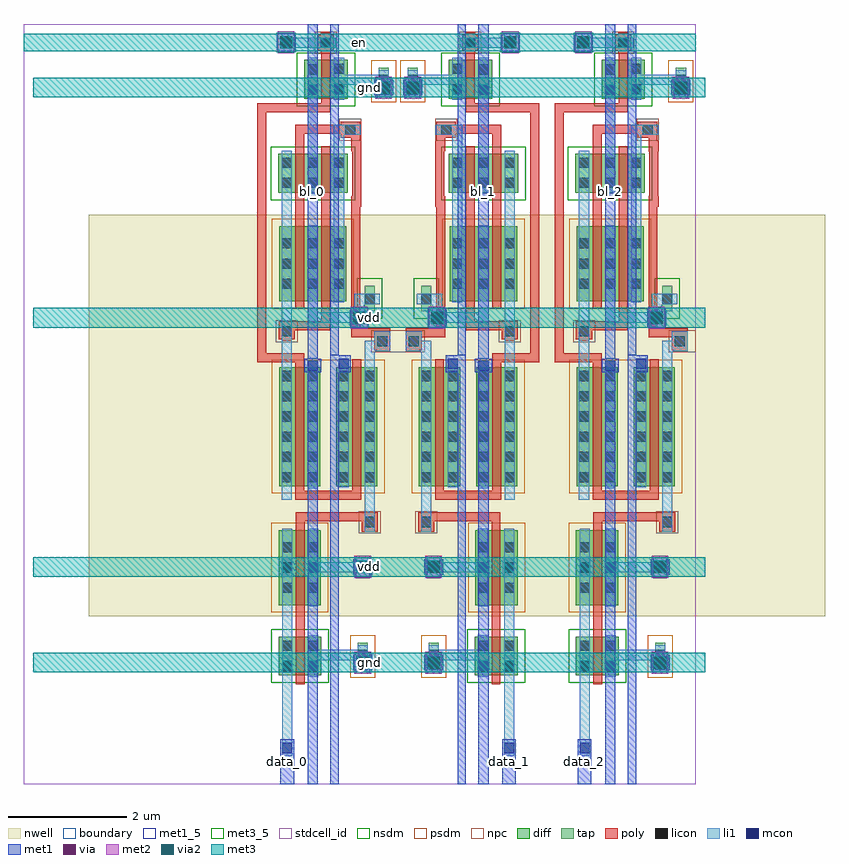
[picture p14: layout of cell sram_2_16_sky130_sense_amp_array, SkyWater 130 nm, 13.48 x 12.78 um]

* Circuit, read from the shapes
.subckt sram_2_16_sky130_sense_amp_array bl_0 bl_1 bl_2 br_0 br_1 br_2 data_0 data_1 data_2 en gnd vdd
XM1 n1 n2 n3 gnd sky130_fd_pr__nfet_01v8 w=0.65 l=0.15
XM2 gnd n2 data_0 gnd sky130_fd_pr__nfet_01v8 w=0.65 l=0.15
XM3 n2 n3 n1 gnd sky130_fd_pr__nfet_01v8 w=0.65 l=0.15
XM4 gnd en n1 gnd sky130_fd_pr__nfet_01v8 w=0.65 l=0.15
XM5 n4 n5 n6 gnd sky130_fd_pr__nfet_01v8 w=0.65 l=0.15
XM6 n4 en gnd gnd sky130_fd_pr__nfet_01v8 w=0.65 l=0.15
XM7 data_1 n6 gnd gnd sky130_fd_pr__nfet_01v8 w=0.65 l=0.15
XM8 n5 n6 n4 gnd sky130_fd_pr__nfet_01v8 w=0.65 l=0.15
XM9 n7 n8 n9 gnd sky130_fd_pr__nfet_01v8 w=0.65 l=0.15
XM10 gnd n8 data_2 gnd sky130_fd_pr__nfet_01v8 w=0.65 l=0.15
XM11 n8 n9 n7 gnd sky130_fd_pr__nfet_01v8 w=0.65 l=0.15
XM12 gnd en n7 gnd sky130_fd_pr__nfet_01v8 w=0.65 l=0.15
XM13 bl_0 en n3 vdd sky130_fd_pr__pfet_01v8 w=2 l=0.15
XM14 vdd n2 n3 vdd sky130_fd_pr__pfet_01v8 w=1.26 l=0.15
XM15 vdd n2 data_0 vdd sky130_fd_pr__pfet_01v8 w=1.26 l=0.15
XM16 n2 n3 vdd vdd sky130_fd_pr__pfet_01v8 w=1.26 l=0.15
XM17 n2 en br_0 vdd sky130_fd_pr__pfet_01v8 w=2 l=0.15
XM18 br_1 en n6 vdd sky130_fd_pr__pfet_01v8 w=2 l=0.15
XM19 vdd n5 n6 vdd sky130_fd_pr__pfet_01v8 w=1.26 l=0.15
XM20 data_1 n6 vdd vdd sky130_fd_pr__pfet_01v8 w=1.26 l=0.15
XM21 n5 en bl_1 vdd sky130_fd_pr__pfet_01v8 w=2 l=0.15
XM22 n5 n6 vdd vdd sky130_fd_pr__pfet_01v8 w=1.26 l=0.15
XM23 bl_2 en n9 vdd sky130_fd_pr__pfet_01v8 w=2 l=0.15
XM24 vdd n8 n9 vdd sky130_fd_pr__pfet_01v8 w=1.26 l=0.15
XM25 vdd n8 data_2 vdd sky130_fd_pr__pfet_01v8 w=1.26 l=0.15
XM26 n8 n9 vdd vdd sky130_fd_pr__pfet_01v8 w=1.26 l=0.15
XM27 n8 en br_2 vdd sky130_fd_pr__pfet_01v8 w=2 l=0.15
.ends

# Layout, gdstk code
from math import pi, radians
import gdstk
lib = gdstk.Library(unit=1e-6, precision=1e-09)
def R(c, l, rs):  # rectangles x0, y0, x1, y1
    for r in rs: c.add(gdstk.rectangle(r[:2], r[2:], *l))
def A(c, l, x, y, w, h, nx, ny, dx, dy):  # array of equal rectangles
    R(c, l, [(x+i*dx, y+j*dy, x+i*dx+w, y+j*dy+h) for i in range(nx) for j in range(ny)])
nwell = (64, 20)
diff = (65, 20)
tap = (65, 44)
poly = (66, 20)
licon = (66, 44)
li1 = (67, 20)
mcon = (67, 44)
met1_5 = (68, 5)
met1 = (68, 20)
via = (68, 44)
met2 = (69, 20)
via2 = (69, 44)
met3_5 = (70, 5)
met3 = (70, 20)
stdcell_id = (81, 4)
nsdm = (93, 44)
psdm = (94, 20)
npc = (95, 20)
boundary = (235, 4)

sky130_fd_bd_sram__openr = lib.new_cell('sky130_fd_bd_sram__openram_sense_amp')
R(sky130_fd_bd_sram__openr, nwell, [(-2.705,2.82,4.685,9.57)])
R(sky130_fd_bd_sram__openr, diff, [(0.49,1.83,1.21,2.48), (0.49,3.01,1.2,4.27), (0.5,5.01,1.19,7.01), (1.46,5.01,2.15,7.01), (0.5,8.12,1.63,9.38), (0.48,9.945,1.65,10.595), (0.92,11.525,1.65,12.175)])
R(sky130_fd_bd_sram__openr, tap, [(1.82,1.915,1.99,2.375), (1.94,7.95,2.11,8.38), (2.17,11.585,2.34,12.045)])
R(sky130_fd_bd_sram__openr, poly, [(0.78,1.68,0.93,4.42), (1.89,4.24,2.16,4.42), (0.78,4.42,2.16,4.57), (0.77,4.78,1.88,4.93), (0.77,4.93,0.92,7.09), (1.73,4.93,1.88,7.14), (0.13,7.09,0.92,7.24), (0.13,7.24,0.28,11.295), (2.15,7.28,2.37,7.29), (2.1,7.29,2.37,7.51), (0.54,7.45,0.71,7.48), (0.49,7.48,0.76,7.63), (1.71,7.51,2.37,7.66), (0.49,7.63,1.36,7.78), (1.71,7.66,1.86,9.71), (1.21,7.78,1.36,10.725), (0.77,7.99,0.92,10.935), (1.71,9.71,1.88,9.88), (1.725,9.88,1.875,10.64), (1.71,10.64,1.88,10.81), (1.71,10.81,1.86,10.865), (1.53,10.865,1.86,10.935), (0.77,10.935,1.86,11.085), (1.53,11.085,1.86,11.135), (0.13,11.295,1.36,11.445), (1.21,11.445,1.36,12.3), (1.2,12.3,1.37,12.33), (1.15,12.33,1.42,12.6), (1.2,12.6,1.37,12.63)])
A(sky130_fd_bd_sram__openr, licon, 0.55, 3.215, 0.17, 0.17, 1, 3, 0, 0.34)
A(sky130_fd_bd_sram__openr, licon, 0.99, 3.215, 0.17, 0.17, 1, 3, 0, 0.34)
A(sky130_fd_bd_sram__openr, licon, 0.54, 5.075, 0.17, 0.17, 1, 6, 0, 0.34)
A(sky130_fd_bd_sram__openr, licon, 0.98, 5.075, 0.17, 0.17, 1, 6, 0, 0.34)
A(sky130_fd_bd_sram__openr, licon, 1.5, 5.075, 0.17, 0.17, 1, 6, 0, 0.34)
A(sky130_fd_bd_sram__openr, licon, 1.94, 5.075, 0.17, 0.17, 1, 6, 0, 0.34)
A(sky130_fd_bd_sram__openr, licon, 0.54, 8.325, 0.17, 0.17, 3, 3, 0.44, 0.34)
A(sky130_fd_bd_sram__openr, licon, 0.54, 10.025, 0.17, 0.17, 3, 2, 0.44, 0.34)
R(sky130_fd_bd_sram__openr, licon, [(0.55,1.9,0.72,2.07), (0.99,1.9,1.16,2.07), (1.82,2.085,1.99,2.255), (0.55,2.24,0.72,2.41), (0.99,2.24,1.16,2.41), (1.94,4.32,2.11,4.49), (2.15,7.36,2.32,7.53), (0.54,7.53,0.71,7.7), (1.94,8.07,2.11,8.24), (1.61,10.915,1.78,11.085), (0.98,11.59,1.15,11.76), (1.42,11.6,1.59,11.77), (2.17,11.755,2.34,11.925), (0.98,11.93,1.15,12.1), (1.42,11.94,1.59,12.11), (1.2,12.38,1.37,12.55)])
R(sky130_fd_bd_sram__openr, li1, [(0.55,0.475,0.72,4.29), (0.98,1.8,1.16,2.08), (1.82,1.915,1.99,2.08), (0.98,2.08,1.99,2.26), (0.98,2.26,1.16,2.5), (1.82,2.26,1.99,2.335), (0.99,2.99,1.16,3.56), (0.99,3.56,1.99,3.73), (0.99,3.73,1.16,4.29), (1.94,4.24,2.11,7.28), (0.54,4.78,0.71,10.65), (0.98,4.97,1.15,7.12), (1.5,4.99,1.67,7.15), (1.94,7.28,2.37,7.45), (2.1,7.45,2.37,7.61), (0.98,7.76,1.93,7.93), (0.98,7.93,1.15,9.4), (1.76,7.93,1.93,8.07), (1.76,8.07,2.19,8.24), (1.42,8.1,1.59,10.915), (0.98,9.925,1.15,12.21), (1.42,10.915,1.87,11.085), (1.42,11.505,1.59,11.755), (2.17,11.585,2.34,11.755), (1.42,11.755,2.34,11.925), (1.42,11.925,1.59,12.21), (2.17,11.925,2.34,12.005), (0.53,12.38,1.45,12.55), (0.53,12.55,0.7,12.56)])
R(sky130_fd_bd_sram__openr, mcon, [(0.55,0.52,0.72,0.69), (1.82,1.915,1.99,2.085), (1.82,3.56,1.99,3.73), (0.98,6.95,1.15,7.12), (1.5,6.98,1.67,7.15), (1.76,7.76,1.93,7.93), (2.17,11.585,2.34,11.755), (0.53,12.385,0.7,12.555)])
R(sky130_fd_bd_sram__openr, met1_5, [(0.52,0,0.75,0.75), (1.79,1.855,2.02,2.225), (1.79,3.46,2.02,3.84), (0.98,7.15,1.15,12.78), (1.36,7.21,1.5,12.78), (1.69,7.67,2,8.01), (2.14,11.525,2.37,11.895), (0.47,12.32,0.76,12.62)])
R(sky130_fd_bd_sram__openr, met1, [(0.52,0,0.75,0.75), (0.52,0,0.75,0.75), (0.98,0,1.15,6.92), (1.36,0,1.5,6.92), (1.79,1.855,2.02,2.225), (1.79,1.855,2.02,2.225), (1.79,3.46,2.02,3.84), (1.79,3.46,2.02,3.84), (0.92,6.92,1.21,7.15), (1.36,6.92,1.7,7.21), (0.98,7.15,1.15,12.78), (0.98,7.15,1.15,12.78), (1.36,7.21,1.5,12.78), (1.36,7.21,1.5,12.78), (1.69,7.67,2,8.01), (1.69,7.67,2,8.01), (2.14,11.525,2.37,11.895), (2.14,11.525,2.37,11.895), (0.47,12.32,0.76,12.62), (0.47,12.32,0.76,12.62)])
R(sky130_fd_bd_sram__openr, nsdm, [(0.365,1.705,1.335,2.605), (1.815,7.825,2.235,8.505), (0.355,9.82,1.775,10.72), (0.795,11.4,1.775,12.3)])
R(sky130_fd_bd_sram__openr, psdm, [(1.695,1.79,2.115,2.5), (0.365,2.885,1.325,4.395), (0.375,4.885,2.275,7.135), (0.375,7.995,1.755,9.505), (2.045,11.46,2.465,12.17)])
R(sky130_fd_bd_sram__openr, npc, [(1.84,4.22,2.21,4.59), (2.05,7.26,2.5,7.63), (0.44,7.43,0.81,7.8), (1.51,10.815,1.88,11.185), (1.1,12.28,1.47,12.65)])
R(sky130_fd_bd_sram__openr, boundary, [(0,0,2.5,12.78)])
sky130_fd_bd_sram__openr.add(gdstk.Label('DOUT', (0.61,0.285), layer=68, texttype=5))
sky130_fd_bd_sram__openr.add(gdstk.Label('BL', (1.07,12.74), layer=68, texttype=5))
sky130_fd_bd_sram__openr.add(gdstk.Label('BR', (1.43,12.73), layer=68, texttype=5))
sky130_fd_bd_sram__openr.add(gdstk.Label('EN', (0.5,12.45), layer=68, texttype=5))
sky130_fd_bd_sram__openr.add(gdstk.Label('GND', (2.25,11.555), layer=68, texttype=5))
sky130_fd_bd_sram__openr.add(gdstk.Label('GND', (1.9,1.885), layer=68, texttype=5))
sky130_fd_bd_sram__openr.add(gdstk.Label('VDD', (1.97,7.84), layer=68, texttype=5))
sky130_fd_bd_sram__openr.add(gdstk.Label('VDD', (1.89,3.5), layer=68, texttype=5))
sky130_fd_bd_sram__openr.add(gdstk.Label('bl', (1.065,9.965), layer=68, texttype=5))
sky130_fd_bd_sram__openr.add(gdstk.Label('br', (1.43,9.995), layer=68, texttype=5))
sky130_fd_bd_sram__openr.add(gdstk.Label('dout', (0.635,0.375), layer=68, texttype=5))
sky130_fd_bd_sram__openr.add(gdstk.Label('en', (0.615,12.47), layer=68, texttype=5))
sky130_fd_bd_sram__openr.add(gdstk.Label('vdd', (1.845,7.84), layer=68, texttype=5))
sky130_fd_bd_sram__openr.add(gdstk.Label('vdd', (1.905,3.65), layer=68, texttype=5))
sky130_fd_bd_sram__openr.add(gdstk.Label('gnd', (2.255,11.71), layer=68, texttype=5))
sky130_fd_bd_sram__openr.add(gdstk.Label('gnd', (1.905,2.04), layer=68, texttype=5))

sram_2_16_sky130_contact = lib.new_cell('sram_2_16_sky130_contact_7')
R(sram_2_16_sky130_contact, met1, [(0,0.03,0.32,0.29)])
R(sram_2_16_sky130_contact, via, [(0.085,0.085,0.235,0.235)])
R(sram_2_16_sky130_contact, met2, [(0.03,0,0.29,0.32)])
R(sram_2_16_sky130_contact, stdcell_id, [(0,0,0.32,0.32)])
R(sram_2_16_sky130_contact, boundary, [(0,0,0.32,0.32)])

c_sram_2_16_sky130_contact = lib.new_cell('sram_2_16_sky130_contact_8')
R(c_sram_2_16_sky130_contact, met2, [(0.025,0,0.305,0.37)])
R(c_sram_2_16_sky130_contact, via2, [(0.065,0.085,0.265,0.285)])
R(c_sram_2_16_sky130_contact, met3, [(0,0.02,0.33,0.35)])
R(c_sram_2_16_sky130_contact, stdcell_id, [(0,0,0.33,0.37)])
R(c_sram_2_16_sky130_contact, boundary, [(0,0,0.33,0.37)])

sram_2_16_sky130_sense_a = lib.new_cell('sram_2_16_sky130_sense_amp_array')
R(sram_2_16_sky130_sense_a, met1_5, [(4.32,0,4.55,0.75), (8.05,0,8.28,0.75), (9.32,0,9.55,0.75), (4.78,7.15,4.95,12.78), (7.65,7.15,7.82,12.78), (9.78,7.15,9.95,12.78), (5.16,7.21,5.3,12.78), (7.3,7.21,7.44,12.78), (10.16,7.21,10.3,12.78)])
R(sram_2_16_sky130_sense_a, met1, [(4.32,0,4.55,0.75), (8.05,0,8.28,0.75), (9.32,0,9.55,0.75), (5.545,1.91,5.865,2.17), (6.735,1.91,7.055,2.17), (10.545,1.91,10.865,2.17), (5.545,3.52,5.865,3.78), (6.735,3.52,7.055,3.78), (10.545,3.52,10.865,3.78), (4.78,7.15,4.95,12.78), (7.65,7.15,7.82,12.78), (9.78,7.15,9.95,12.78), (5.16,7.21,5.3,12.78), (7.3,7.21,7.44,12.78), (10.16,7.21,10.3,12.78), (5.485,7.71,5.805,7.97), (6.795,7.71,7.115,7.97), (10.485,7.71,10.805,7.97), (5.895,11.58,6.215,11.84), (6.385,11.58,6.705,11.84), (10.895,11.58,11.215,11.84), (4.255,12.34,4.575,12.6), (8.025,12.34,8.345,12.6), (9.255,12.34,9.575,12.6)])
R(sram_2_16_sky130_sense_a, met2, [(5.565,1.92,5.845,2.16), (6.755,1.92,7.035,2.16), (10.565,1.92,10.845,2.16), (5.565,3.53,5.845,3.77), (6.755,3.53,7.035,3.77), (10.565,3.53,10.845,3.77), (5.505,7.72,5.785,7.96), (6.815,7.72,7.095,7.96), (10.505,7.72,10.785,7.96), (5.915,11.59,6.195,11.83), (6.405,11.59,6.685,11.83), (10.915,11.59,11.195,11.83), (4.275,12.35,4.555,12.59), (8.045,12.35,8.325,12.59), (9.275,12.35,9.555,12.59)])
R(sram_2_16_sky130_sense_a, met3_5, [(0.165,1.875,11.465,2.205), (0.165,3.485,11.465,3.815), (0.165,7.675,11.465,8.005), (0.165,11.545,11.465,11.875), (0,12.32,11.3,12.62)])
R(sram_2_16_sky130_sense_a, met3, [(0.165,1.875,11.465,2.205), (0.165,3.485,11.465,3.815), (0.165,7.675,11.465,8.005), (0.165,11.545,11.465,11.875), (0,12.32,11.3,12.62)])
R(sram_2_16_sky130_sense_a, stdcell_id, [(0,0,11.3,12.78)])
R(sram_2_16_sky130_sense_a, boundary, [(0,0,11.3,12.78)])
sram_2_16_sky130_sense_a.add(gdstk.Reference(sky130_fd_bd_sram__openr, (3.8,0)))
sram_2_16_sky130_sense_a.add(gdstk.Reference(sky130_fd_bd_sram__openr, (8.8,0), rotation=pi, x_reflection=True))
sram_2_16_sky130_sense_a.add(gdstk.Reference(sky130_fd_bd_sram__openr, (8.8,0)))
sram_2_16_sky130_sense_a.add(gdstk.Reference(sram_2_16_sky130_contact, (5.485,7.68)))
sram_2_16_sky130_sense_a.add(gdstk.Reference(c_sram_2_16_sky130_contact, (5.48,7.655)))
sram_2_16_sky130_sense_a.add(gdstk.Reference(sram_2_16_sky130_contact, (6.795,7.68)))
sram_2_16_sky130_sense_a.add(gdstk.Reference(c_sram_2_16_sky130_contact, (6.79,7.655)))
sram_2_16_sky130_sense_a.add(gdstk.Reference(sram_2_16_sky130_contact, (10.485,7.68)))
sram_2_16_sky130_sense_a.add(gdstk.Reference(c_sram_2_16_sky130_contact, (10.48,7.655)))
sram_2_16_sky130_sense_a.add(gdstk.Reference(sram_2_16_sky130_contact, (5.545,3.49)))
sram_2_16_sky130_sense_a.add(gdstk.Reference(c_sram_2_16_sky130_contact, (5.54,3.465)))
sram_2_16_sky130_sense_a.add(gdstk.Reference(sram_2_16_sky130_contact, (6.735,3.49)))
sram_2_16_sky130_sense_a.add(gdstk.Reference(c_sram_2_16_sky130_contact, (6.73,3.465)))
sram_2_16_sky130_sense_a.add(gdstk.Reference(sram_2_16_sky130_contact, (10.545,3.49)))
sram_2_16_sky130_sense_a.add(gdstk.Reference(c_sram_2_16_sky130_contact, (10.54,3.465)))
sram_2_16_sky130_sense_a.add(gdstk.Reference(sram_2_16_sky130_contact, (5.895,11.55)))
sram_2_16_sky130_sense_a.add(gdstk.Reference(c_sram_2_16_sky130_contact, (5.89,11.525)))
sram_2_16_sky130_sense_a.add(gdstk.Reference(sram_2_16_sky130_contact, (6.385,11.55)))
sram_2_16_sky130_sense_a.add(gdstk.Reference(c_sram_2_16_sky130_contact, (6.38,11.525)))
sram_2_16_sky130_sense_a.add(gdstk.Reference(sram_2_16_sky130_contact, (10.895,11.55)))
sram_2_16_sky130_sense_a.add(gdstk.Reference(c_sram_2_16_sky130_contact, (10.89,11.525)))
sram_2_16_sky130_sense_a.add(gdstk.Reference(sram_2_16_sky130_contact, (5.545,1.88)))
sram_2_16_sky130_sense_a.add(gdstk.Reference(c_sram_2_16_sky130_contact, (5.54,1.855)))
sram_2_16_sky130_sense_a.add(gdstk.Reference(sram_2_16_sky130_contact, (6.735,1.88)))
sram_2_16_sky130_sense_a.add(gdstk.Reference(c_sram_2_16_sky130_contact, (6.73,1.855)))
sram_2_16_sky130_sense_a.add(gdstk.Reference(sram_2_16_sky130_contact, (10.545,1.88)))
sram_2_16_sky130_sense_a.add(gdstk.Reference(c_sram_2_16_sky130_contact, (10.54,1.855)))
sram_2_16_sky130_sense_a.add(gdstk.Reference(sram_2_16_sky130_contact, (4.255,12.31)))
sram_2_16_sky130_sense_a.add(gdstk.Reference(c_sram_2_16_sky130_contact, (4.25,12.285)))
sram_2_16_sky130_sense_a.add(gdstk.Reference(sram_2_16_sky130_contact, (8.025,12.31)))
sram_2_16_sky130_sense_a.add(gdstk.Reference(c_sram_2_16_sky130_contact, (8.02,12.285)))
sram_2_16_sky130_sense_a.add(gdstk.Reference(sram_2_16_sky130_contact, (9.255,12.31)))
sram_2_16_sky130_sense_a.add(gdstk.Reference(c_sram_2_16_sky130_contact, (9.25,12.285)))
sram_2_16_sky130_sense_a.add(gdstk.Label('bl_0', (4.865,9.965), layer=68, texttype=5))
sram_2_16_sky130_sense_a.add(gdstk.Label('br_0', (5.23,9.995), layer=68, texttype=5))
sram_2_16_sky130_sense_a.add(gdstk.Label('data_0', (4.435,0.375), layer=68, texttype=5))
sram_2_16_sky130_sense_a.add(gdstk.Label('bl_1', (7.735,9.965), layer=68, texttype=5))
sram_2_16_sky130_sense_a.add(gdstk.Label('br_1', (7.37,9.995), layer=68, texttype=5))
sram_2_16_sky130_sense_a.add(gdstk.Label('data_1', (8.165,0.375), layer=68, texttype=5))
sram_2_16_sky130_sense_a.add(gdstk.Label('bl_2', (9.865,9.965), layer=68, texttype=5))
sram_2_16_sky130_sense_a.add(gdstk.Label('br_2', (10.23,9.995), layer=68, texttype=5))
sram_2_16_sky130_sense_a.add(gdstk.Label('data_2', (9.435,0.375), layer=68, texttype=5))
sram_2_16_sky130_sense_a.add(gdstk.Label('vdd', (5.815,3.65), layer=70, texttype=5))
sram_2_16_sky130_sense_a.add(gdstk.Label('vdd', (5.815,7.84), layer=70, texttype=5))
sram_2_16_sky130_sense_a.add(gdstk.Label('gnd', (5.815,2.04), layer=70, texttype=5))
sram_2_16_sky130_sense_a.add(gdstk.Label('gnd', (5.815,11.71), layer=70, texttype=5))
sram_2_16_sky130_sense_a.add(gdstk.Label('en', (5.65,12.47), layer=70, texttype=5))

lib.write_gds('sram_2_16_sky130_sense_amp_array.gds')
